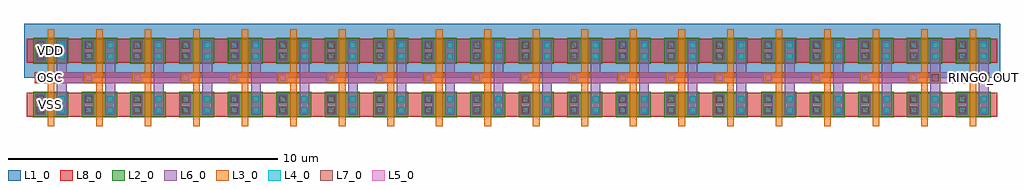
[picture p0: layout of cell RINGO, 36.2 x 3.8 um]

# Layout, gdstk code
import gdstk
lib = gdstk.Library(unit=1e-6, precision=1e-09)
def R(c, l, rs):  # rectangles x0, y0, x1, y1
    for r in rs: c.add(gdstk.rectangle(r[:2], r[2:], *l))
def A(c, l, x, y, w, h, nx, ny, dx, dy):  # array of equal rectangles
    R(c, l, [(x+i*dx, y+j*dy, x+i*dx+w, y+j*dy+h) for i in range(nx) for j in range(ny)])
L1_0 = (1, 0)
L2_0 = (2, 0)
L3_0 = (3, 0)
L4_0 = (4, 0)
L5_0 = (5, 0)
L6_0 = (6, 0)
L7_0 = (7, 0)
L8_0 = (8, 0)

trans = lib.new_cell('TRANS')
R(trans, L2_0, [(-0.65,-0.475,0.65,0.475)])
R(trans, L4_0, [(-0.51,-0.31,-0.29,-0.09), (0.29,-0.31,0.51,-0.09), (-0.51,0.09,-0.29,0.31), (0.29,0.09,0.51,0.31)])
R(trans, L6_0, [(-0.58,-0.38,-0.22,0.38), (0.22,-0.38,0.58,0.38)])
trans.add(gdstk.FlexPath([(0,-0.8),(0,0.8)], 0.25, ends="flush", simple_path=True, layer=3, datatype=0))  # L3_0

inv = lib.new_cell('INV')
R(inv, L1_0, [(-1,1,1,3)])
R(inv, L3_0, [(-0.125,0.55,0.125,1.45), (-0.58,0.82,0,1.18)])
R(inv, L6_0, [(0.22,0.38,0.58,1.62)])
R(inv, L7_0, [(-0.525,-0.325,-0.275,-0.075), (-0.525,0.075,-0.275,0.325), (-0.525,1.675,-0.275,1.925), (-0.525,2.075,-0.275,2.325)])
R(inv, L8_0, [(-0.9,-0.45,0.9,0.45), (-0.9,1.55,0.9,2.45)])
inv.add(gdstk.Reference(trans, (0,0)))
inv.add(gdstk.Reference(trans, (0,2)))
inv.add(gdstk.Label('IN', (-0.4,1), layer=3, texttype=1))
inv.add(gdstk.Label('OUT', (0.4,1), layer=6, texttype=1))

ringo = lib.new_cell('RINGO')
A(ringo, L5_0, -0.51, 0.89, 0.22, 0.22, 20, 1, 1.8, 0)
A(ringo, L6_0, 0.58, 0.8, 1, 0.4, 19, 1, 1.8, 0)
R(ringo, L6_0, [(-0.58,0.82,-0.22,1.18)])
R(ringo, L7_0, [(-0.525,0.875,-0.275,1.125), (32.675,0.875,32.925,1.125), (34.475,0.875,34.725,1.125)])
R(ringo, L8_0, [(-0.6,0.8,33,1.2), (34.4,0.8,34.8,1.2)])
ringo.add(gdstk.Reference(inv, (0,0)))
ringo.add(gdstk.Reference(inv, (1.8,0)))
ringo.add(gdstk.Reference(inv, (3.6,0)))
ringo.add(gdstk.Reference(inv, (5.4,0)))
ringo.add(gdstk.Reference(inv, (7.2,0)))
ringo.add(gdstk.Reference(inv, (9,0)))
ringo.add(gdstk.Reference(inv, (10.8,0)))
ringo.add(gdstk.Reference(inv, (12.6,0)))
ringo.add(gdstk.Reference(inv, (14.4,0)))
ringo.add(gdstk.Reference(inv, (16.2,0)))
ringo.add(gdstk.Reference(inv, (18,0)))
ringo.add(gdstk.Reference(inv, (19.8,0)))
ringo.add(gdstk.Reference(inv, (21.6,0)))
ringo.add(gdstk.Reference(inv, (23.4,0)))
ringo.add(gdstk.Reference(inv, (25.2,0)))
ringo.add(gdstk.Reference(inv, (27,0)))
ringo.add(gdstk.Reference(inv, (28.8,0)))
ringo.add(gdstk.Reference(inv, (30.6,0)))
ringo.add(gdstk.Reference(inv, (32.4,0)))
ringo.add(gdstk.Reference(inv, (34.2,0)))
ringo.add(gdstk.Label('OSC', (0,1), layer=8, texttype=1))
ringo.add(gdstk.Label('RINGO_OUT', (34.6,1), layer=8, texttype=1))
ringo.add(gdstk.Label('VSS', (0,0), layer=8, texttype=1))
ringo.add(gdstk.Label('VDD', (0,2), layer=8, texttype=1))

lib.write_gds('RINGO.gds')
